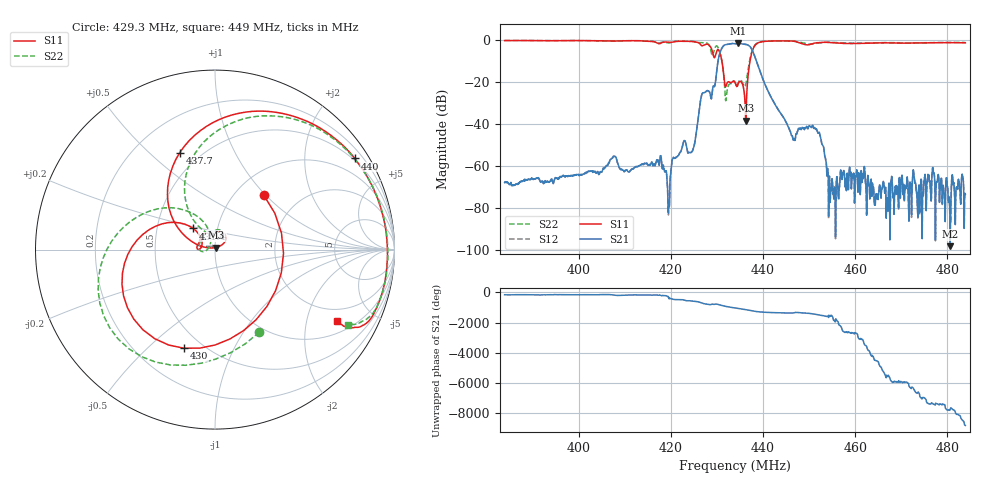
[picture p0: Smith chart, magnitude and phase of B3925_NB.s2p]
! Matrix data file written by TouchstoneData, EPCOS AG
! FILENAME: "B3925_NB.s2p"
! COMMENT: "NWA-Port1 : 98.0ps NWA-Port2 : 98.0ps PCB2031"
! INFO: nport=2, nfreq=1601
! DATE: "Fri Jan 11 2013"
! USER: "Hiroshi Tanaka"
! port | pin | signal
!  1  |  2  |  in
!  2  |  5  |  out
# MHZ S MA R 50
! freq  magS11 angS11  magS21 angS21  magS12 angS12  magS22 angS22
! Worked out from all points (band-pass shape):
!   1601 points, 383.9 MHz to 483.9 MHz, reference 50 ohm
!   highest |S21| = -1.44 dB at 434.6 MHz (marker M1); lowest = -98.4 dB at 480.6 MHz (marker M2)
!   |S21| within 3 dB of the highest: 430.9 MHz to 437.6 MHz (6.656 MHz wide, 1.53 % of centre)
!   lowest |S11| = -38.5 dB at 436.2 MHz (marker M3), VSWR 1.02, Z = 50.3 + j1.15 ohm
!   |S11| at or under -10 dB: 431.1 MHz to 437.2 MHz (6.1 MHz wide, 1.41 % of centre)
!   |S22| runs from -28.9 to -0.1 dB; largest |S21 - S12| = 0.0017
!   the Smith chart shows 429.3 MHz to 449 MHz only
!   S11 on the Smith chart (normalised r, x): 429.3 MHz: 1.34, +0.97; 430 MHz: 0.40, -0.66; 431.4 MHz: 0.76, +0.19; 437.7 MHz: 0.39, +0.63; 440 MHz: 0.44, +3.31; 449 MHz: 1.46, -3.05
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383.92  0.9794 -60.2  0.0003977 -162.7  0.0004023 -163.0  0.9818 -56.4
400.6075  0.9797 -68.8  0.0006232 -159.5  0.0006214 -159.2  0.9827 -64.6
417.295  0.8304 -90.6  0.00135 166.4  0.001353 166.4  0.8495 -84.7
419.6075  0.8917 -92.8  0.0001333 -64.2  0.0001219 -66.3  0.8584 -86.5
424.7325  0.9273 -121.7  0.002324 139.0  0.002316 139.0  0.9375 -114.1
427.795  0.8076 -164.8  0.06218 -62.7  0.06211 -62.7  0.8596 -166.0
428.545  0.7069 155.6  0.05093 -94.5  0.05085 -94.4  0.6549 135.1
429.295  0.4069 48.0  0.08066 -77.4  0.08052 -77.5  0.522 -61.8
430.045  0.576 -107.4  0.222 -64.9  0.2217 -64.9  0.7213 -149.5
431.42  0.1688 135.8  0.7323 -176.6  0.731 -176.6  0.1679 112.6
433.92  0.09861 104.1  0.8219 45.7  0.8206 45.7  0.09684 105.3
434.6075  0.09248 89.8  0.8474 14.1  0.8459 14.1  0.09362 97.0
436.2325  0.01193 72.5  0.7964 -63.5  0.795 -63.4  0.08553 104.4
437.7325  0.5747 110.0  0.5549 -151.3  0.5539 -151.3  0.6033 95.8
440.045  0.9295 33.1  0.1121 126.6  0.1119 127.0  0.9346 28.8
446.4825  0.9518 -23.1  0.004405 74.3  0.004412 74.2  0.9503 -21.5
449.045  0.7867 -30.3  0.007739 72.6  0.007739 72.7  0.8506 -29.4
450.6075  0.8191 -25.2  0.008642 25.4  0.008631 25.3  0.803 -26.9
455.295  0.8676 -36.5  0.0002336 -34.8  0.0002307 -35.2  0.8821 -33.7
467.295  0.8623 -42.9  0.0003501 -130.8  0.0003403 -132.2  0.8764 -39.7
480.6075  0.8723 -47.1  1.206e-05 170.5  1.74e-05 168.9  0.887 -43.9
483.92  0.8666 -48.1  0.0002113 -170.3  0.0002159 -170.6  0.8789 -45.0
